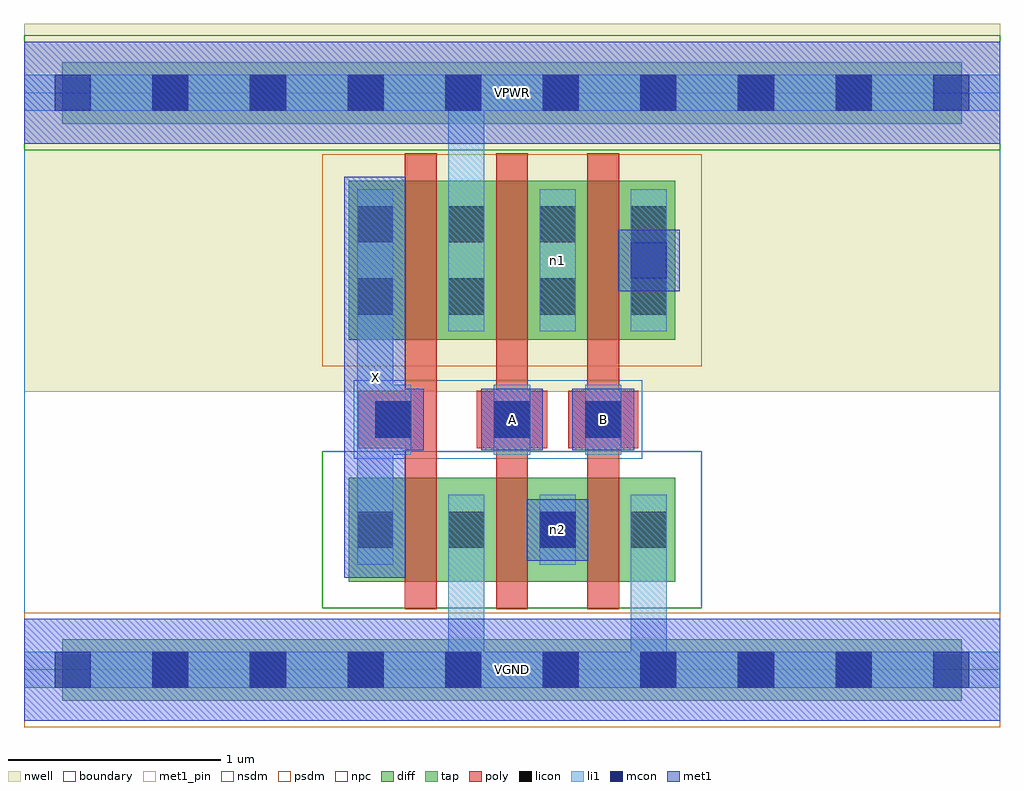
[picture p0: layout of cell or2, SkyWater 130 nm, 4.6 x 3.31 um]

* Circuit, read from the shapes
.subckt or2 A B VGND VPWR X n1 n2
XM1 VGND X X VGND sky130_fd_pr__nfet_01v8 w=0.49 l=0.15
XM2 n2 A VGND VGND sky130_fd_pr__nfet_01v8 w=0.49 l=0.15
XM3 VGND B n2 VGND sky130_fd_pr__nfet_01v8 w=0.49 l=0.15
XM4 VPWR X X VPWR sky130_fd_pr__pfet_01v8 w=0.75 l=0.15
XM5 n1 A VPWR VPWR sky130_fd_pr__pfet_01v8 w=0.75 l=0.15
XM6 n3 B n1 VPWR sky130_fd_pr__pfet_01v8 w=0.75 l=0.15
.ends

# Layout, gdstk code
import gdstk
lib = gdstk.Library(unit=1e-6, precision=1e-09)
def R(c, l, rs):  # rectangles x0, y0, x1, y1
    for r in rs: c.add(gdstk.rectangle(r[:2], r[2:], *l))
def A(c, l, x, y, w, h, nx, ny, dx, dy):  # array of equal rectangles
    R(c, l, [(x+i*dx, y+j*dy, x+i*dx+w, y+j*dy+h) for i in range(nx) for j in range(ny)])
nwell = (64, 20)
diff = (65, 20)
tap = (65, 44)
poly = (66, 20)
licon = (66, 44)
li1 = (67, 20)
mcon = (67, 44)
met1_pin = (68, 16)
met1 = (68, 20)
nsdm = (93, 44)
psdm = (94, 20)
npc = (95, 20)
boundary = (235, 4)

or2 = lib.new_cell('or2')
R(or2, nwell, [(0,1.31,4.6,3.045)])
R(or2, diff, [(1.53,0.415,3.07,0.905), (1.53,1.555,3.07,2.305)])
R(or2, tap, [(0.18,-0.145,4.42,0.145), (0.18,2.575,4.42,2.865)])
A(or2, poly, 1.795, 0.285, 0.15, 2.15, 3, 1, 0.43, 0)
R(or2, poly, [(1.575,1.045,1.905,1.315), (2.135,1.045,2.465,1.315), (2.565,1.045,2.895,1.315)])
A(or2, licon, 0.605, -0.085, 0.17, 0.17, 8, 2, 0.46, 2.72)
A(or2, licon, 1.57, 0.575, 0.17, 0.17, 4, 2, 0.43, 1.1)
A(or2, licon, 1.57, 2.015, 0.17, 0.17, 4, 1, 0.43, 0)
R(or2, licon, [(1.655,1.095,1.825,1.265), (2.215,1.095,2.385,1.265), (2.645,1.095,2.815,1.265)])
A(or2, li1, 1.57, 0.495, 0.17, 0.33, 4, 1, 0.43, 0)
A(or2, li1, 1.57, 1.595, 0.17, 0.67, 3, 1, 0.43, 0)
R(or2, li1, [(0,-0.085,4.6,0.085), (2,-0.085,2.17,0.825), (2.86,-0.085,3.03,0.825), (1.57,0.495,1.74,2.265), (1.655,1.015,1.825,1.345), (2.215,1.015,2.385,1.345), (2.645,1.015,2.815,1.345), (2,1.595,2.17,2.805), (2.43,1.595,2.6,2.265), (2.86,1.595,3.03,2.265), (0,2.635,4.6,2.805)])
A(or2, mcon, 0.145, -0.085, 0.17, 0.17, 10, 2, 0.46, 2.72)
R(or2, mcon, [(2.43,0.575,2.6,0.745), (1.655,1.095,1.825,1.265), (2.215,1.095,2.385,1.265), (2.645,1.095,2.815,1.265), (2.86,1.845,3.03,2.015)])
R(or2, met1_pin, [(0,-0.24,4.6,0.24), (1.51,0.435,1.8,2.325), (2.155,1.035,2.445,1.325), (2.585,1.035,2.875,1.325), (0,2.48,4.6,2.96)])
R(or2, met1, [(0,-0.24,4.6,0.24), (1.51,0.435,1.8,2.325), (2.37,0.515,2.66,0.805), (1.595,1.035,1.885,1.325), (2.155,1.035,2.445,1.325), (2.585,1.035,2.875,1.325), (2.8,1.785,3.09,2.075), (0,2.48,4.6,2.96)])
R(or2, nsdm, [(1.405,0.29,3.195,1.03), (0,2.45,4.6,2.99)])
R(or2, psdm, [(0,-0.27,4.6,0.27), (1.405,1.43,3.195,2.43)])
R(or2, npc, [(1.555,0.995,2.915,1.365)])
R(or2, boundary, [(0,0,4.6,2.72)])
or2.add(gdstk.Label('n2', (2.515,0.66), layer=67, texttype=5))
or2.add(gdstk.Label('n1', (2.515,1.93), layer=67, texttype=5))
or2.add(gdstk.Label('A', (2.3,1.18), layer=68, texttype=5))
or2.add(gdstk.Label('B', (2.73,1.18), layer=68, texttype=5))
or2.add(gdstk.Label('X', (1.655,1.38), layer=68, texttype=5))
or2.add(gdstk.Label('VPWR', (2.3,2.72), layer=68, texttype=5))
or2.add(gdstk.Label('VGND', (2.3,0), layer=68, texttype=5))
or2.add(gdstk.Label('A', (2.3,1.18), layer=68, texttype=16))
or2.add(gdstk.Label('B', (2.73,1.18), layer=68, texttype=16))
or2.add(gdstk.Label('X', (1.655,1.38), layer=68, texttype=16))
or2.add(gdstk.Label('VPWR', (2.3,2.72), layer=68, texttype=16))
or2.add(gdstk.Label('VGND', (2.3,0), layer=68, texttype=16))

lib.write_gds('or2.gds')
